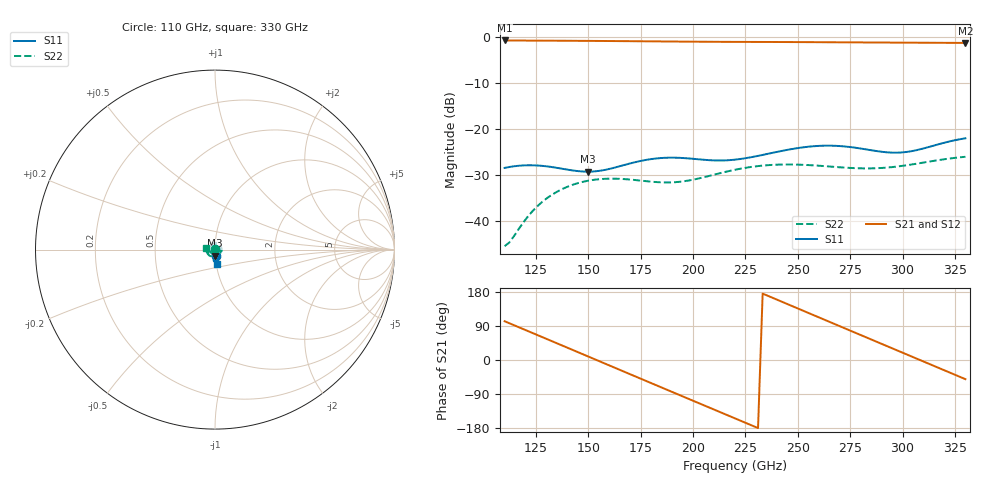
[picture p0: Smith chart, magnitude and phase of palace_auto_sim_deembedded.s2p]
! Created with skrf 1.11.0 (http://scikit-rf.org).
# GHz S DB R 50.0
!freq dBS11 angS11 dBS21 angS21 dBS12 angS12 dBS22 angS22
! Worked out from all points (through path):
!   101 points, 110 GHz to 330 GHz, reference 50 ohm
!   highest |S21| = -0.83 dB at 110 GHz (marker M1); lowest = -1.4 dB at 330 GHz (marker M2)
!   group delay of S21, straight-line fit = 6.48 ps
!   lowest |S11| = -29.4 dB at 149.6 GHz (marker M3), VSWR 1.07, Z = 49.8 - j3.39 ohm
!   |S11| at or under -10 dB: start of sweep to end of sweep
!   |S22| runs from -45.5 to -26.1 dB; largest |S21 - S12| = 1.5e-13
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110  -28.53 -79.8  -0.83 102.3  -0.83 102.3  -45.55 114.8
118.8  -28.00 -87.2  -0.85 81.8  -0.85 81.8  -40.47 40.9
127.6  -28.08 -93.6  -0.87 61.3  -0.87 61.3  -36.06 1.4
138.6  -28.80 -96.8  -0.90 35.7  -0.90 35.7  -32.90 -38.1
147.4  -29.32 -93.6  -0.92 15.1  -0.92 15.1  -31.56 -68.7
149.6  -29.35 -92.2  -0.93 10.0  -0.93 10.0  -31.35 -76.5
165  -28.17 -83.8  -0.97 -26.0  -0.97 -26.0  -30.91 -134.3
176  -26.93 -85.3  -1.01 -51.7  -1.01 -51.7  -31.34 178.4
184.8  -26.39 -89.2  -1.04 -72.2  -1.04 -72.2  -31.67 135.9
193.6  -26.35 -92.9  -1.08 -92.7  -1.08 -92.7  -31.55 90.5
202.4  -26.66 -94.1  -1.10 -113.1  -1.10 -113.1  -30.86 45.1
220  -26.74 -87.6  -1.14 -154.0  -1.14 -154.0  -28.94 -38.6
228.8  -26.12 -84.3  -1.15 -174.5  -1.15 -174.5  -28.26 -77.5
237.6  -25.29 -83.3  -1.17 164.9  -1.17 164.9  -27.88 -115.6
246.4  -24.49 -84.7  -1.18 144.4  -1.18 144.4  -27.79 -153.8
257.4  -23.83 -89.0  -1.20 118.7  -1.20 118.7  -27.98 157.4
266.2  -23.71 -93.2  -1.22 98.1  -1.22 98.1  -28.27 116.9
275  -24.00 -96.4  -1.25 77.6  -1.25 77.6  -28.54 74.7
283.8  -24.60 -96.9  -1.27 57.1  -1.27 57.1  -28.64 31.0
294.8  -25.21 -91.6  -1.29 31.4  -1.29 31.4  -28.37 -24.4
312.4  -24.01 -80.2  -1.33 -9.6  -1.33 -9.6  -27.19 -109.8
330  -22.10 -83.1  -1.36 -50.6  -1.36 -50.6  -26.12 170.3
